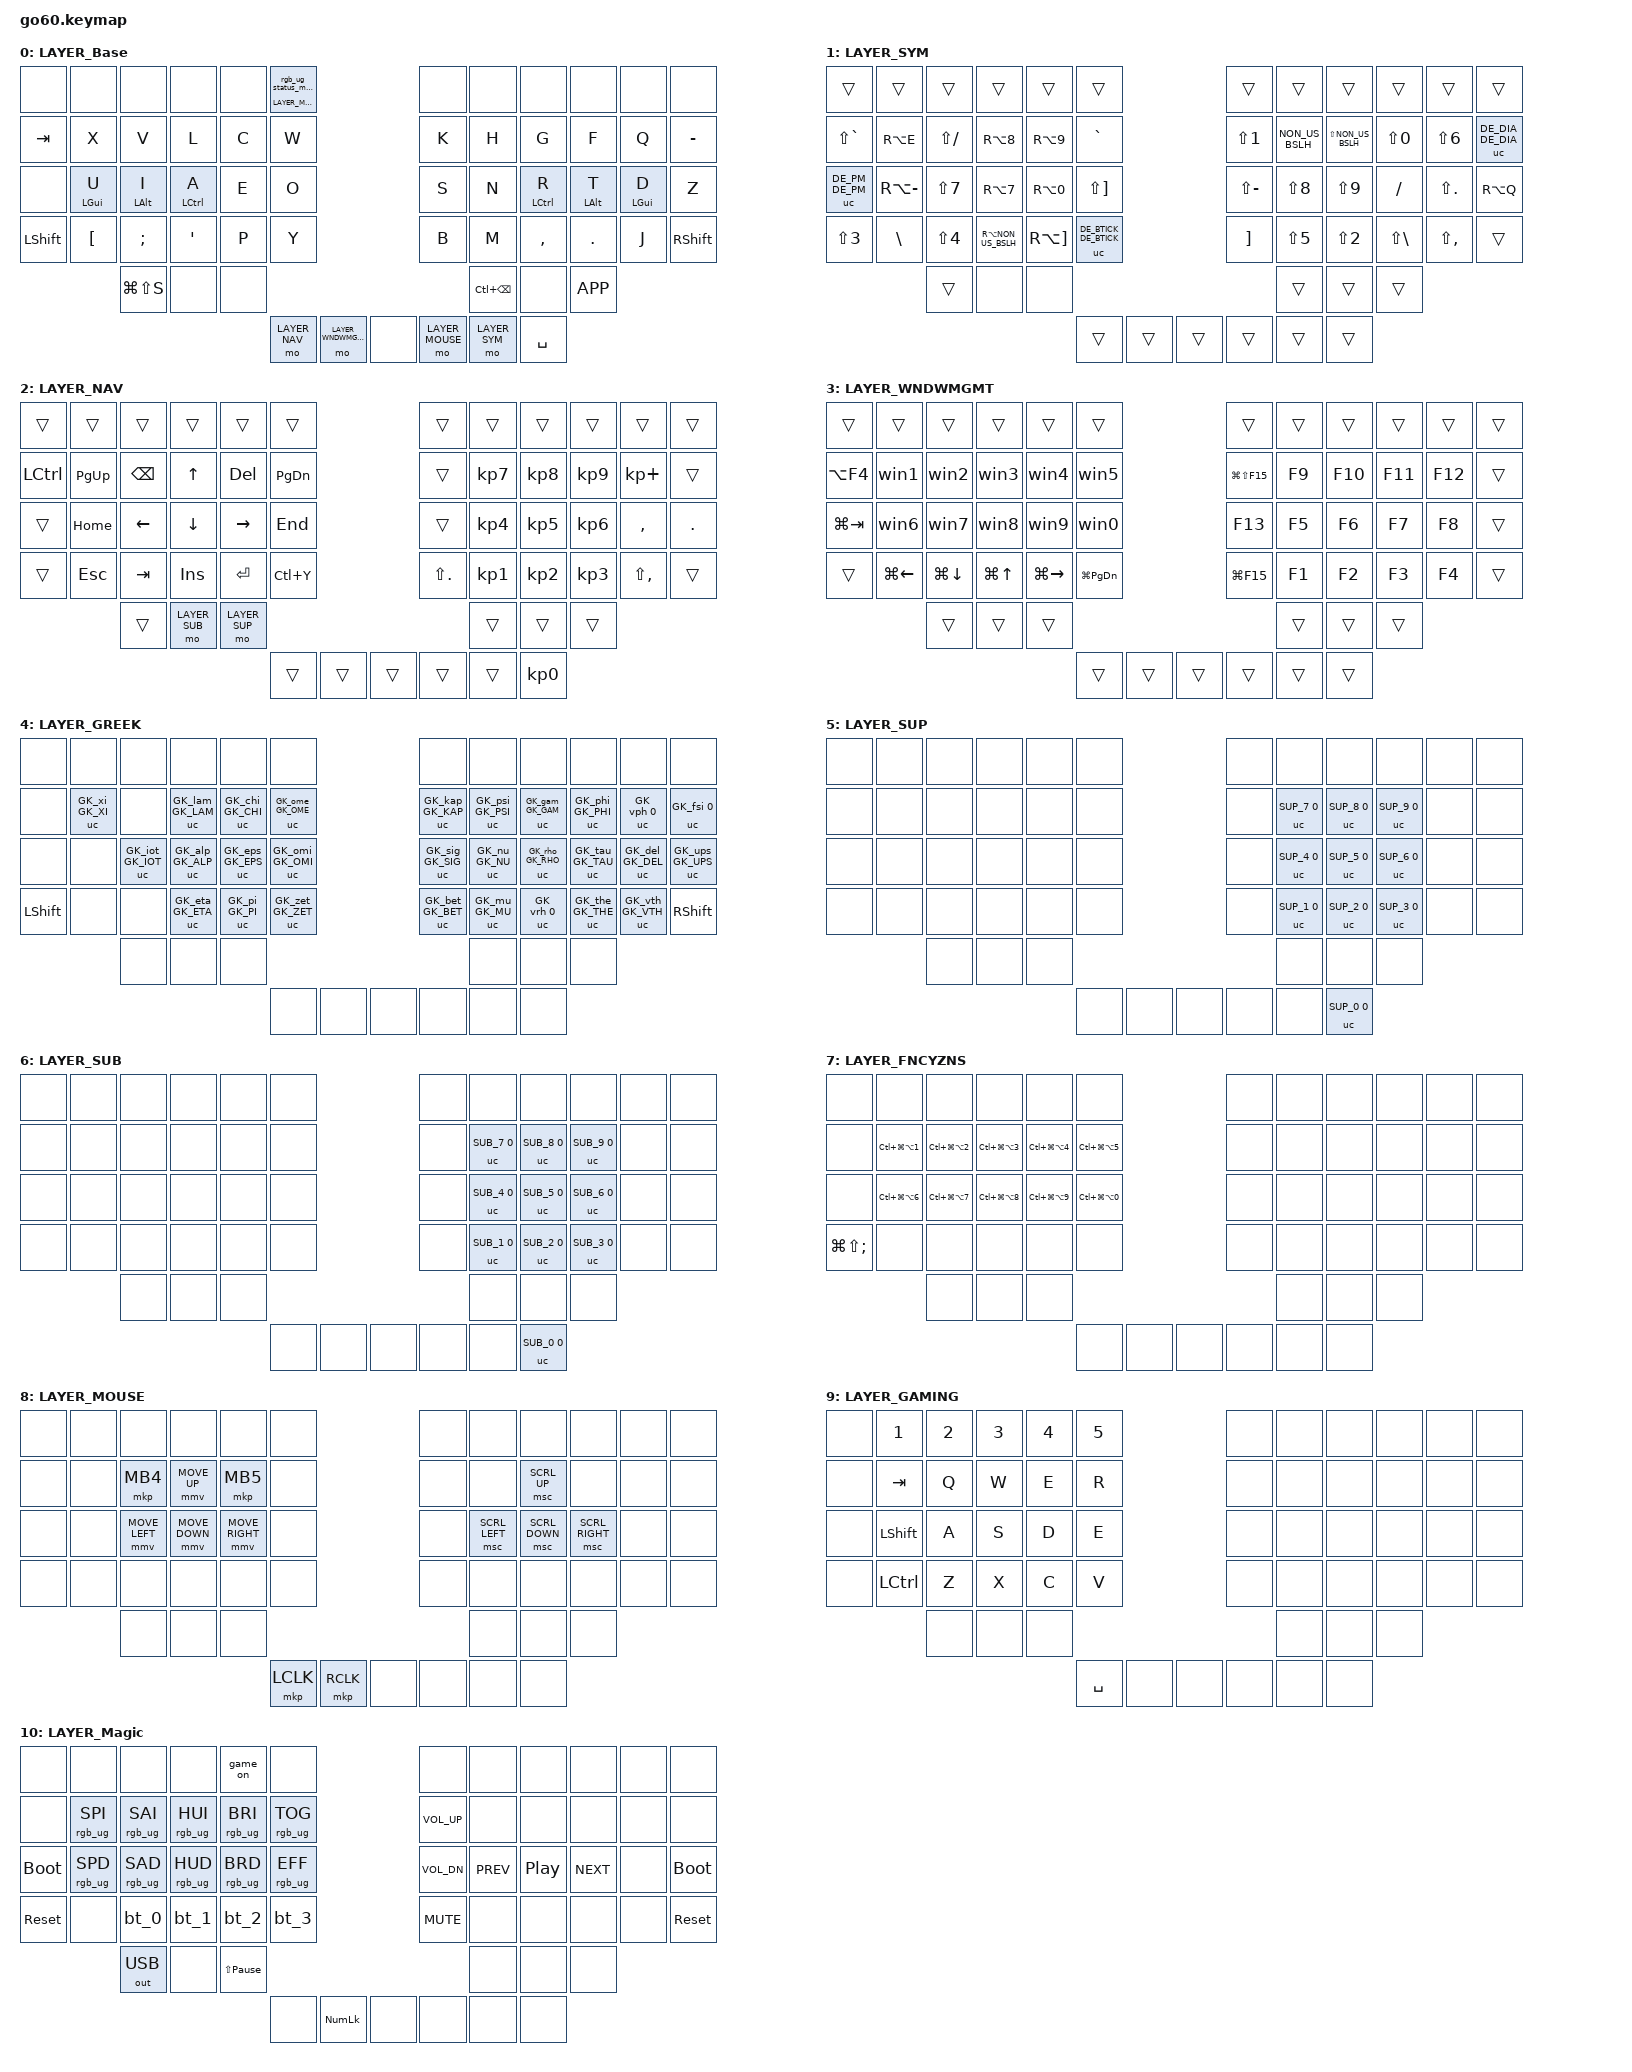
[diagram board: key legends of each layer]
/*
 * Copyright (c) 2020 The ZMK Contributors
 * Copyright (c) 2025 Innaworks Development Limited, trading as MoErgo
 *
 * SPDX-License-Identifier: MIT
 */


/* THIS FILE WAS GENERATED BY GLOVE80 LAYOUT EDITOR
 *
 * This file was generated automatically. You may or may not want to
 * edit it directly.
 */

#include <behaviors.dtsi>
/* Include all behavior includes needed */
#include <dt-bindings/zmk/outputs.h>
#include <dt-bindings/zmk/keys.h>
#include <dt-bindings/zmk/bt.h>
#include <dt-bindings/zmk/rgb.h>
#include <behaviors/unicode.dtsi>
#include <input/processors.dtsi>

/* Mouse emulation */
#define ZMK_POINTING_DEFAULT_MOVE_VAL 1500  // default: 600
#define ZMK_POINTING_DEFAULT_SCRL_VAL 20    // default: 10
#include <dt-bindings/zmk/pointing.h>

/* On demand includes */


/* Helper Macros, based on https://github.com/urob/zmk-helpers/ */

#pragma once

#define ZMK_HELPER_STRINGIFY(x) #x

// Preprocessor mechanism to overload macros, cf. https://stackoverflow.com/a/27051616/6114651
#define VARGS_(_10, _9, _8, _7, _6, _5, _4, _3, _2, _1, N, ...) N
#define VARGS(...) VARGS_(__VA_ARGS__, 10, 9, 8, 7, 6, 5, 4, 3, 2, 1, 0)
#define CONCAT_(a, b) a##b
#define CONCAT(a, b) CONCAT_(a, b)

#define ZMK_BEHAVIOR_CORE_tap_dance  \
    compatible = "zmk,behavior-tap-dance"; \
    #binding-cells = <0>

#define ZMK_BEHAVIOR(name, type, ...) \
    name: name { \
        ZMK_BEHAVIOR_CORE_ ## type; \
        __VA_ARGS__ \
    };

#define ZMK_TAP_DANCE(name, ...) \
    ZMK_BEHAVIOR(name, tap_dance, __VA_ARGS__)

#define ZMK_TD_LAYER(name, layer) \
    ZMK_TAP_DANCE(name, \
        tapping-term-ms = <200>; \
        bindings = <&mo layer>, <&to layer>; \
)

/* Automatically generated layer name #define */
#define LAYER_Base 0
#define LAYER_SYM 1
#define LAYER_NAV 2
#define LAYER_WNDWMGMT 3
#define LAYER_GREEK 4
#define LAYER_SUP 5
#define LAYER_SUB 6
#define LAYER_FNCYZNS 7
#define LAYER_MOUSE 8
#define LAYER_GAMING 9
#define LAYER_Magic 10

/* To deal with the situation where there is no Lower layer, to keep &lower happy */
#ifndef LAYER_Lower
#define LAYER_Lower 0
#endif

/* Custom Device-tree */


/* Input Listeners */


/* System behavior and Macros */
/ {
    behaviors {
        ZMK_TD_LAYER(lower, LAYER_Lower)
    };
};

/ {
    macros {
    rgb_ug_status_macro: rgb_ug_status_macro {
        label = "RGB_UG_STATUS";
        compatible = "zmk,behavior-macro";
        #binding-cells = <0>;
        bindings
            = <&rgb_ug RGB_STATUS>;
    };
    game_on: game_on {
      compatible = "zmk,behavior-macro";
      #binding-cells = <0>;
      wait-ms = <0>; tap-ms = <0>;
      bindings = <&to LAYER_GAMING>, <&rgb_ug RGB_COLOR_HSB(17,73,80)>;   // go red
    };
    game_off: game_off {
      compatible = "zmk,behavior-macro";
      #binding-cells = <0>;
      wait-ms = <0>; tap-ms = <0>;
      bindings = <&to LAYER_Base>, <&rgb_ug RGB_COLOR_HSB(200,41,75)>;   // back to blue
    };
    };
};


/ {
#ifdef BT_DISC_CMD
    behaviors {
        bt_0: bt_0 {
            compatible = "zmk,behavior-tap-dance";
            label = "BT_0";
            #binding-cells = <0>;
            tapping-term-ms = <200>;
            bindings = <&bt_select_0>, <&bt BT_DISC 0>;
        };
        bt_1: bt_1 {
            compatible = "zmk,behavior-tap-dance";
            label = "BT_1";
            #binding-cells = <0>;
            tapping-term-ms = <200>;
            bindings = <&bt_select_1>, <&bt BT_DISC 1>;
        };
        bt_2: bt_2 {
            compatible = "zmk,behavior-tap-dance";
            label = "BT_2";
            #binding-cells = <0>;
            tapping-term-ms = <200>;
            bindings = <&bt_select_2>, <&bt BT_DISC 2>;
        };
        bt_3: bt_3 {
            compatible = "zmk,behavior-tap-dance";
            label = "BT_3";
            #binding-cells = <0>;
            tapping-term-ms = <200>;
            bindings = <&bt_select_3>, <&bt BT_DISC 3>;
        };
    };
    macros {
        bt_select_0: bt_select_0 {
            label = "BT_SELECT_0";
            compatible = "zmk,behavior-macro";
            #binding-cells = <0>;
            bindings
                = <&out OUT_BLE>,
                  <&bt BT_SEL 0>;
        };
        bt_select_1: bt_select_1 {
            label = "BT_SELECT_1";
            compatible = "zmk,behavior-macro";
            #binding-cells = <0>;
            bindings
                = <&out OUT_BLE>,
                  <&bt BT_SEL 1>;
        };
        bt_select_2: bt_select_2 {
            label = "BT_SELECT_2";
            compatible = "zmk,behavior-macro";
            #binding-cells = <0>;
            bindings
                = <&out OUT_BLE>,
                  <&bt BT_SEL 2>;
        };
        bt_select_3: bt_select_3 {
            label = "BT_SELECT_3";
            compatible = "zmk,behavior-macro";
            #binding-cells = <0>;
            bindings
                = <&out OUT_BLE>,
                  <&bt BT_SEL 3>;
        };
    };
#else
    macros {
        bt_0: bt_0 {
            label = "BT_0";
            compatible = "zmk,behavior-macro";
            #binding-cells = <0>;
            bindings
                = <&out OUT_BLE>,
                  <&bt BT_SEL 0>;
        };
        bt_1: bt_1 {
            label = "BT_1";
            compatible = "zmk,behavior-macro";
            #binding-cells = <0>;
            bindings
                = <&out OUT_BLE>,
                  <&bt BT_SEL 1>;
        };
        bt_2: bt_2 {
            label = "BT_2";
            compatible = "zmk,behavior-macro";
            #binding-cells = <0>;
            bindings
                = <&out OUT_BLE>,
                  <&bt BT_SEL 2>;
        };
        bt_3: bt_3 {
            label = "BT_3";
            compatible = "zmk,behavior-macro";
            #binding-cells = <0>;
            bindings
                = <&out OUT_BLE>,
                  <&bt BT_SEL 3>;
        };
    };
#endif
};

/ {
    behaviors {
        magic: magic {
            compatible = "zmk,behavior-hold-tap";
            label = "MAGIC_HOLD_TAP";
            #binding-cells = <2>;
            flavor = "tap-preferred";
            tapping-term-ms = <200>;
            bindings = <&mo>, <&rgb_ug_status_macro>;
        };
        win1: window_1 {
            compatible = "zmk,behavior-tri-state";
            label = "WINDOW1_SWAPPER";
            #binding-cells = <0>;
            bindings = <&kt LGUI>, <&kp N1>, <&kt LGUI>;
            ignored-key-positions = <1>;
        };
        
        win2: window_2 {
            compatible = "zmk,behavior-tri-state";
            label = "WINDOW2_SWAPPER";
            #binding-cells = <0>;
            bindings = <&kt LGUI>, <&kp N2>, <&kt LGUI>;
            ignored-key-positions = <1>;
        };
        
        win3: window_3 {
            compatible = "zmk,behavior-tri-state";
            label = "WINDOW3_SWAPPER";
            #binding-cells = <0>;
            bindings = <&kt LGUI>, <&kp N3>, <&kt LGUI>;
            ignored-key-positions = <1>;
        };
        
        win4: window_4 {
            compatible = "zmk,behavior-tri-state";
            label = "WINDOW4_SWAPPER";
            #binding-cells = <0>;
            bindings = <&kt LGUI>, <&kp N4>, <&kt LGUI>;
            ignored-key-positions = <1>;
        };
        
        win5: window_5 {
            compatible = "zmk,behavior-tri-state";
            label = "WINDOW5_SWAPPER";
            #binding-cells = <0>;
            bindings = <&kt LGUI>, <&kp N5>, <&kt LGUI>;
            ignored-key-positions = <1>;
        };
        
        win6: window_6 {
            compatible = "zmk,behavior-tri-state";
            label = "WINDOW6_SWAPPER";
            #binding-cells = <0>;
            bindings = <&kt LGUI>, <&kp N6>, <&kt LGUI>;
            ignored-key-positions = <1>;
        };
        
        win7: window_7 {
            compatible = "zmk,behavior-tri-state";
            label = "WINDOW7_SWAPPER";
            #binding-cells = <0>;
            bindings = <&kt LGUI>, <&kp N7>, <&kt LGUI>;
            ignored-key-positions = <1>;
        };
        
        win8: window_8 {
            compatible = "zmk,behavior-tri-state";
            label = "WINDOW8_SWAPPER";
            #binding-cells = <0>;
            bindings = <&kt LGUI>, <&kp N8>, <&kt LGUI>;
            ignored-key-positions = <1>;
        };
        
        win9: window_9 {
            compatible = "zmk,behavior-tri-state";
            label = "WINDOW9_SWAPPER";
            #binding-cells = <0>;
            bindings = <&kt LGUI>, <&kp N9>, <&kt LGUI>;
            ignored-key-positions = <1>;
        };
        
        win0: window_0 {
            compatible = "zmk,behavior-tri-state";
            label = "WINDOW0_SWAPPER";
            #binding-cells = <0>;
            bindings = <&kt LGUI>, <&kp N0>, <&kt LGUI>;
            ignored-key-positions = <1>;
        };

        hml: home_row_mod_left {
            compatible = "zmk,behavior-hold-tap";
            #binding-cells = <2>;
            flavor = "balanced";
            require-prior-idle-ms = <150>;
            tapping-term-ms = <280>;
            quick-tap-ms = <175>;
            bindings = <&kp>, <&kp>;
            hold-trigger-key-positions = 
                <6 7 8 9 10 11
                 18 19 20 21 22 23
                 30 31 32 33 34 35
                 42 43 44 45 46 47
                 56 57 58 59 60>;
            hold-trigger-on-release;
        };
        hmr: home_row_mod_right {
            compatible = "zmk,behavior-hold-tap";
            #binding-cells = <2>;
            flavor = "balanced";
            require-prior-idle-ms = <150>;
            tapping-term-ms = <280>;
            quick-tap-ms = <175>;
            bindings = <&kp>, <&kp>;
            hold-trigger-key-positions =
                <0 1 2 3 4 5
                 12 13 14 15 16 17
                 24 25 26 27 28 29
                 36 37 38 39 40 41
                 48 49 50 51 52 53 54 55>;
            hold-trigger-on-release;
        };
    };
};  

/* greek letters */ 
#define GK_alp	 0x3B1  // alpha 		(╬▒)
#define GK_ALP 	 0x391  // Alpha 		(╬æ)
#define GK_bet   0x3B2 	// beta 		(╬▓)
#define GK_BET   0x392 	// Beta 		(╬Æ)
#define GK_gam	 0x3B3  // gamma 		(╬│)
#define GK_GAM 	 0x393  // Gamma 		(╬ô)
#define GK_del   0x3B4 	// delta 		(╬┤)
#define GK_DEL   0x394 	// Delta 		(╬ö)
#define GK_eps	 0x3B5  // epsilon 		(╬Á)
#define GK_EPS 	 0x395  // Epsilon 		(╬ò)
#define GK_zet   0x3B6 	// zeta 		(╬Â)
#define GK_ZET   0x396 	// Zeta 		(╬û)
#define GK_eta	 0x3B7  // eta 			(╬À)
#define GK_ETA	 0x397  // Eta 			(╬ù)
#define GK_vth 	 0x3D1 	// vartheta		(¤æ)
#define GK_VTH 	 0x3F4 	// VarTheta		(¤┤)
#define GK_the   0x3B8 	// theta 		(╬©)
#define GK_THE   0x398 	// Theta 		(╬ÿ)
#define GK_iot	 0x3B9  // iota 		(╬╣)
#define GK_IOT 	 0x399  // Iota 		(╬Ö)
#define GK_kap   0x3BA 	// kappa 		(╬║)
#define GK_KAP   0x39A 	// Kappa 		(╬Ü)
#define GK_lam	 0x3BB  // lambda 		(╬╗)
#define GK_LAM 	 0x39B  // Lambda 		(╬ø)
#define GK_mu	 0x3BC 	// mu 			(╬╝)
#define GK_MU  	 0x39C 	// Mu 			(╬£)
#define GK_nu	 0x3BD 	// nu 			(╬¢)
#define GK_NU  	 0x39D 	// Nu 			(╬Ø)
#define GK_xi	 0x3BE 	// xi 			(╬¥)
#define GK_XI  	 0x39E 	// Xi 			(╬×)
#define GK_omi   0x3BF 	// omicron 		(╬┐)
#define GK_OMI	 0x39F 	// Omicron 		(╬ƒ)

#define GK_pi	 0x3C0 	// pi 			(¤Ç)
#define GK_PI  	 0x3A0 	// Pi 			(╬á)
#define GK_vrh   0x3F1 	// varrho 		(¤▒) no capital version
#define GK_rho	 0x3C1 	// rho 			(¤ü)
#define GK_RHO   0x3A1 	// Rho 			(╬í)
#define GK_fsi 	 0x3C2 	// final sigma 	(¤é) no capital version
#define GK_sig	 0x3C3 	// sigma 		(¤â)
#define GK_SIG	 0x3A3 	// Sigma 		(╬ú)
#define GK_tau	 0x3C4 	// tau 			(¤ä)
#define GK_TAU   0x3A4 	// Tau 			(╬ñ)
#define GK_ups   0x3C5 	// upsilon 		(¤à)
#define GK_UPS	 0x3A5 	// Upsilon 		(╬Ñ)
#define GK_vph	 0x3D5 	// varphi 		(¤ò) no capital version
#define GK_phi	 0x3C6 	// phi 			(¤å)
#define GK_PHI   0x3A6 	// Phi 			(╬ª)
#define GK_chi	 0x3C7 	// chi 			(¤ç)
#define GK_CHI   0x3A7 	// Chi 			(╬º)
#define GK_psi	 0x3C8 	// psi 			(¤ê)
#define GK_PSI   0x3A8 	// Psi 			(╬¿)
#define GK_ome	 0x3C9 	// omega 		(¤ë)
#define GK_OME	 0x3A9 	// Omega 		(╬®)

/* subscript */
#define SUB_0   0x2080 	  // subscript 0
#define SUB_1   0x2081 	  // subscript 1
#define SUB_2   0x2082 	  // subscript 2
#define SUB_3   0x2083 	  // subscript 3
#define SUB_4   0x2084 	  // subscript 4
#define SUB_5   0x2085 	  // subscript 5
#define SUB_6   0x2086 	  // subscript 6
#define SUB_7   0x2087 	  // subscript 7
#define SUB_8   0x2088 	  // subscript 8
#define SUB_9   0x2089 	  // subscript 9

/* superscript */
#define SUP_0   0x2070 	  // superscript 0
#define SUP_1   0x00B9 	  // superscript 1
#define SUP_2   0x00B2 	  // superscript 2
#define SUP_3   0x00B3 	  // superscript 3
#define SUP_4   0x2074 	  // superscript 4
#define SUP_5   0x2075 	  // superscript 5
#define SUP_6   0x2076 	  // superscript 6
#define SUP_7   0x2077 	  // superscript 7
#define SUP_8   0x2078 	  // superscript 8
#define SUP_9   0x2079 	  // superscript 9

/* define german special characters */
#define DE_EURO  RA(E)           // Ôé¼      
#define DE_UNDER LS(FSLH)        // _      
#define DE_LBKT  RA(N8)          // [     
#define DE_RBKT  RA(N9)          // ]        
#define DE_CARET GRAVE           // ^       
#define DE_BSLH  RA(MINUS)       // \     
#define DE_FSLH  LS(N7)          // /      
#define DE_LBRC  RA(N7)          // {     
#define DE_RBRC  RA(N0)          // }        
#define DE_STAR  LS(RBKT)        // *        
#define DE_PARA  LS(N3)          // ┬º      
#define DE_HASH  BSLH            // #      
#define DE_DLLR  LS(N4)          // $     
#define DE_PIPE  RA(NON_US_BSLH) // |       
#define DE_TILDE RA(RBKT)        // ~        
#define DE_EXLC  LS(N1)          // !     
#define DE_LT    NON_US_BSLH     // <       
#define DE_GT    LS(NON_US_BSLH) // >       
#define DE_EQUAL LS(N0)          // =      
#define DE_AMPS  LS(N6)          // &      
#define DE_QMARK LS(MINUS)       // ?     
#define DE_LPAR  LS(N8)          // (       
#define DE_RPAR  LS(N9)          // )       
#define DE_MINUS FSLH            // -      
#define DE_COLON LS(DOT)         // :     
#define DE_AT    RA(Q)           // @       
#define DE_PLUS  RBKT            // +     
#define DE_PRCNT LS(N5)          // %       
#define DE_DQT   LS(N2)          // "       
#define DE_SQT   LS(BSLH)        // '      
#define DE_SEMI  LS(COMMA)       // ;    
#define DE_ADIA  SQT             // ├ñ
#define DE_ODIA  SEMI            // ├Â
#define DE_UDIA  LBKT            // ├╝
#define DE_SS    MINUS           // ├ƒ
#define DE_DEG   LS(GRAVE)       // ┬░
#define DE_Y     Z               // Y
#define DE_Z     Y               // Z
#define DE_BTICK 0x0060          // ` (must be used with wincompose)
#define DE_DIA   0x2300          // ÔîÇ
#define DE_PM    0x00B1          // ┬▒

/* #define for key positions */
#define POS_LH_T1 52
#define POS_LH_T2 53
#define POS_LH_T3 54
#define POS_LH_T4 69
#define POS_LH_T5 70
#define POS_LH_T6 71
#define POS_LH_C1R2 15
#define POS_LH_C1R3 27
#define POS_LH_C1R4 39
#define POS_LH_C1R5 51
#define POS_LH_C2R1 4
#define POS_LH_C2R2 14
#define POS_LH_C2R3 26
#define POS_LH_C2R4 38
#define POS_LH_C2R5 50
#define POS_LH_C2R6 68
#define POS_LH_C3R1 3
#define POS_LH_C3R2 13
#define POS_LH_C3R3 25
#define POS_LH_C3R4 37
#define POS_LH_C3R5 49
#define POS_LH_C3R6 67
#define POS_LH_C4R1 2
#define POS_LH_C4R2 12
#define POS_LH_C4R3 24
#define POS_LH_C4R4 36
#define POS_LH_C4R5 48
#define POS_LH_C4R6 66
#define POS_LH_C5R1 1
#define POS_LH_C5R2 11
#define POS_LH_C5R3 23
#define POS_LH_C5R4 35
#define POS_LH_C5R5 47
#define POS_LH_C5R6 65
#define POS_LH_C6R1 0
#define POS_LH_C6R2 10
#define POS_LH_C6R3 22
#define POS_LH_C6R4 34
#define POS_LH_C6R5 46
#define POS_LH_C6R6 64
#define POS_RH_T1 57
#define POS_RH_T2 56
#define POS_RH_T3 55
#define POS_RH_T4 74
#define POS_RH_T5 73
#define POS_RH_T6 72
#define POS_RH_C1R2 16
#define POS_RH_C1R3 28
#define POS_RH_C1R4 40
#define POS_RH_C1R5 58
#define POS_RH_C2R1 5
#define POS_RH_C2R2 17
#define POS_RH_C2R3 29
#define POS_RH_C2R4 41
#define POS_RH_C2R5 59
#define POS_RH_C2R6 75
#define POS_RH_C3R1 6
#define POS_RH_C3R2 18
#define POS_RH_C3R3 30
#define POS_RH_C3R4 42
#define POS_RH_C3R5 60
#define POS_RH_C3R6 76
#define POS_RH_C4R1 7
#define POS_RH_C4R2 19
#define POS_RH_C4R3 31
#define POS_RH_C4R4 43
#define POS_RH_C4R5 61
#define POS_RH_C4R6 77
#define POS_RH_C5R1 8
#define POS_RH_C5R2 20
#define POS_RH_C5R3 32
#define POS_RH_C5R4 44
#define POS_RH_C5R5 62
#define POS_RH_C5R6 78
#define POS_RH_C6R1 9
#define POS_RH_C6R2 21
#define POS_RH_C6R3 33
#define POS_RH_C6R4 45
#define POS_RH_C6R5 63
#define POS_RH_C6R6 79

/* Custom Defined Behaviors */
/ {

};


/* SYM and NAV layer goes to GREEK */
/ {
    conditional_layers {
        compatible = "zmk,conditional-layers";
        condition_greeks {
            if-layers = <LAYER_SYM LAYER_NAV>;
            then-layer = <LAYER_GREEK>;
        };
        condition_fncyzns {
            if-layers = <LAYER_SYM LAYER_WNDWMGMT>;
            then-layer = <LAYER_FNCYZNS>;
        };
    };
};

/* Automatically generated macro definitions */
/ {
    macros {
    };
};

/* Automatically generated behavior definitions */
/ {
    behaviors {


    };
};

/* Automatically generated combos definitions */


&uc {
  default-mode = <UC_MODE_WIN_COMPOSE>;  // Default to WinCompose input system
  win-compose-key = <F14>;        // Overwrite WinCompose compose key
};

/* Automatically generated keymap */
/ {
    keymap {
        compatible = "zmk,keymap";

        LAYER_Base {
            bindings = <
            &none           &none           &none           &none        &none           &magic LAYER_Magic 0                                                             &none       &none           &none        &none       &none       &none
            &kp TAB         &kp X           &kp V           &kp L        &kp C           &kp W                                                                            &kp K       &kp H           &kp G        &kp F       &kp Q       &kp DE_SS
            &none           &hml LGUI U     &hml LALT I     &hml LCTRL A &kp E           &kp O                                                                            &kp S       &kp N           &hmr LCTRL R &hmr LALT T &hmr LGUI D &kp DE_Y
            &kp LSHFT       &kp DE_UDIA     &kp DE_ODIA     &kp DE_ADIA  &kp P           &kp DE_Z                                                                         &kp B       &kp M           &kp COMMA    &kp DOT     &kp J       &kp RSHFT
                                            &kp LG(LS(S))   &none        &none                                                                                                        &kp LC(BSPC)    &none        &kp K_APP
                                                                                         &mo LAYER_NAV  &mo LAYER_WNDWMGMT  &none /*|*/  &mo LAYER_MOUSE  &mo LAYER_SYM   &kp SPACE
            >;
        };

        LAYER_SYM {
            bindings = <
            &trans              &trans          &trans          &trans              &trans          &trans                                                          &trans          &trans          &trans              &trans          &trans          &trans
            &kp DE_DEG          &kp RA(E)       &kp LS(FSLH)    &kp RA(N8)          &kp RA(N9)      &kp GRAVE                                                       &kp LS(N1)      &kp NON_US_BSLH &kp LS(NON_US_BSLH) &kp LS(N0)      &kp LS(N6)      &uc DE_DIA DE_DIA
            &uc DE_PM DE_PM     &kp RA(MINUS)   &kp LS(N7)      &kp RA(N7)          &kp RA(N0)      &kp LS(RBKT)                                                    &kp LS(MINUS)   &kp LS(N8)      &kp LS(N9)          &kp FSLH        &kp LS(DOT)     &kp DE_AT
            &kp LS(N3)          &kp BSLH        &kp LS(N4)      &kp RA(NON_US_BSLH) &kp RA(RBKT)    &uc DE_BTICK DE_BTICK                                           &kp RBKT        &kp LS(N5)      &kp LS(N2)          &kp LS(BSLH)    &kp LS(COMMA)   &trans
                                                &trans          &none               &none                                                                                           &trans          &trans              &trans
                                                                                                    &trans                  &trans  &trans /*|*/ &trans  &trans     &trans
            >;
        };

        LAYER_NAV {
            bindings = <
            &trans      &trans      &trans      &trans          &trans          &trans                                              &trans      &trans      &trans      &trans      &trans          &trans
            &kp LCTL    &kp PG_UP   &kp BSPC    &kp UP          &kp DEL         &kp PG_DN                                           &trans      &kp KP_N7   &kp KP_N8   &kp KP_N9   &kp KP_PLUS     &trans
            &trans      &kp HOME    &kp LEFT    &kp DOWN        &kp RIGHT       &kp END                                             &trans      &kp KP_N4   &kp KP_N5   &kp KP_N6   &kp COMMA       &kp DOT
            &trans      &kp ESC     &kp TAB     &kp INS         &kp RET         &kp LC(Y)                                           &kp LS(DOT) &kp KP_N1   &kp KP_N2   &kp KP_N3   &kp LS(COMMA)   &trans
                                    &trans      &mo LAYER_SUB   &mo LAYER_SUP                                                                   &trans      &trans      &trans
                                                                            &trans      &trans  &trans /*|*/  &trans  &trans    &kp KP_N0
            >;
        };

        LAYER_WNDWMGMT {
            bindings = <
            &trans      &trans              &trans              &trans              &trans              &trans                                              &trans          &trans  &trans  &trans  &trans  &trans
            &kp LA(F4)  &win1               &win2               &win3               &win4               &win5                                               &kp LG(LS(F15)) &kp F9  &kp F10 &kp F11 &kp F12 &trans
            &kp LG(TAB) &win6               &win7               &win8               &win9               &win0                                               &kp F13         &kp F5  &kp F6  &kp F7  &kp F8  &trans
            &trans      &kp LG(LEFT_ARROW)  &kp LG(DOWN_ARROW)  &kp LG(UP_ARROW)    &kp LG(RIGHT_ARROW) &kp LG(PG_DN)                                       &kp LG(F15)     &kp F1  &kp F2  &kp F3  &kp F4  &trans
                                            &trans              &trans              &trans                                                                                  &trans  &trans  &trans
                                                                                                        &trans          &trans  &trans /*|*/ &trans  &trans &trans
            >;
        };

        LAYER_GREEK {
            bindings = <
            &none       &none           &none               &none               &none               &none                                                   &none               &none               &none               &none               &none               &none
            &none       &uc GK_xi GK_XI &none               &uc GK_lam GK_LAM   &uc GK_chi GK_CHI   &uc GK_ome GK_OME                                       &uc GK_kap GK_KAP   &uc GK_psi GK_PSI   &uc GK_gam GK_GAM   &uc GK_phi GK_PHI   &uc GK_vph 0        &uc GK_fsi 0
            &none       &none           &uc GK_iot GK_IOT   &uc GK_alp GK_ALP   &uc GK_eps GK_EPS   &uc GK_omi GK_OMI                                       &uc GK_sig GK_SIG   &uc GK_nu GK_NU     &uc GK_rho GK_RHO   &uc GK_tau GK_TAU   &uc GK_del GK_DEL   &uc GK_ups GK_UPS
            &kp LSHFT   &none           &none               &uc GK_eta GK_ETA   &uc GK_pi GK_PI     &uc GK_zet GK_ZET                                       &uc GK_bet GK_BET   &uc GK_mu GK_MU     &uc GK_vrh 0        &uc GK_the GK_THE   &uc GK_vth GK_VTH   &kp RSHFT
                                        &none               &none               &none                                                                                           &none               &none               &none
                                                                                                    &none               &none   &none /*|*/ &none  &none    &none
            >;
        };

        LAYER_SUP {
            bindings = <
            &none   &none   &none  &none  &none  &none                                  &none       &none           &none           &none           &none  &none
            &none   &none   &none  &none  &none  &none                                  &none       &uc SUP_7 0     &uc SUP_8 0     &uc SUP_9 0     &none  &none
            &none   &none   &none  &none  &none  &none                                  &none       &uc SUP_4 0     &uc SUP_5 0     &uc SUP_6 0     &none  &none
            &none   &none   &none  &none  &none  &none                                  &none       &uc SUP_1 0     &uc SUP_2 0     &uc SUP_3 0     &none  &none
                            &none  &none  &none                                                     &none           &none           &none
                                                &none  &none  &none /*|*/ &none  &none &uc SUP_0 0
            >;
        };

        LAYER_SUB {
            bindings = <
            &none  &none    &none  &none  &none  &none                                      &none       &none       &none       &none       &none  &none
            &none  &none    &none  &none  &none  &none                                      &none       &uc SUB_7 0 &uc SUB_8 0 &uc SUB_9 0 &none  &none
            &none  &none    &none  &none  &none  &none                                      &none       &uc SUB_4 0 &uc SUB_5 0 &uc SUB_6 0 &none  &none
            &none  &none    &none  &none  &none  &none                                      &none       &uc SUB_1 0 &uc SUB_2 0 &uc SUB_3 0 &none  &none
                            &none  &none  &none                                                         &none       &none       &none
                                                &none  &none  &none /*|*/ &none  &none     &uc SUB_0 0
            >;
        };

        LAYER_FNCYZNS {
            bindings = <
            &none               &none               &none               &none               &none               &none                                                   &none  &none  &none  &none  &none  &none
            &none               &kp LC(LG(LA(N1)))  &kp LC(LG(LA(N2)))  &kp LC(LG(LA(N3)))  &kp LC(LG(LA(N4)))  &kp LC(LG(LA(N5)))                                      &none  &none  &none  &none  &none  &none
            &none               &kp LC(LG(LA(N6)))  &kp LC(LG(LA(N7)))  &kp LC(LG(LA(N8)))  &kp LC(LG(LA(N9)))  &kp LC(LG(LA(N0)))                                      &none  &none  &none  &none  &none  &none
            &kp LG(LS(SEMI))    &none               &none               &none               &none               &none                                                   &none  &none  &none  &none  &none  &none
                                                    &none               &none               &none                                                                              &none  &none  &none
                                                                                                                &none               &none  &none /*|*/ &none  &none     &none
            >;
        };

        LAYER_MOUSE {
            bindings = <
            &none  &none    &none           &none           &none           &none                                               &none   &none           &none           &none           &none  &none
            &none  &none    &mkp MB4        &mmv MOVE_UP    &mkp MB5        &none                                               &none   &none           &msc SCRL_UP    &none           &none  &none
            &none  &none    &mmv MOVE_LEFT  &mmv MOVE_DOWN  &mmv MOVE_RIGHT &none                                               &none   &msc SCRL_LEFT  &msc SCRL_DOWN  &msc SCRL_RIGHT &none  &none
            &none  &none    &none           &none           &none           &none                                               &none   &none           &none           &none           &none  &none
                            &none           &none           &none                                                                       &none           &none           &none
                                                                            &mkp LCLK   &mkp RCLK   &none /*|*/ &none  &none    &none
            >;
        };

        LAYER_GAMING {
            bindings = <
            &none  &kp N1       &kp N2  &kp N3  &kp N4  &kp N5                                      &none  &none  &none  &none  &none  &none
            &none  &kp TAB      &kp Q   &kp W   &kp E   &kp R                                       &none  &none  &none  &none  &none  &none
            &none  &kp LSHIFT   &kp A   &kp S   &kp D   &kp E                                       &none  &none  &none  &none  &none  &none
            &none  &kp LCTL     &kp Z   &kp X   &kp C   &kp V                                       &none  &none  &none  &none  &none  &none
                                &none   &none   &none                                                      &none  &none  &none
                                                        &kp SPACE  &none  &none /*|*/ &none  &none  &none
            >;
        };

        LAYER_Magic {
            bindings = <
            &none       &none           &none           &none           &game_on            &none                                                       &none           &none       &none               &none       &none  &none
            &none       &rgb_ug RGB_SPI &rgb_ug RGB_SAI &rgb_ug RGB_HUI &rgb_ug RGB_BRI     &rgb_ug RGB_TOG                                             &kp C_VOL_UP    &none       &none               &none       &none  &none
            &bootloader &rgb_ug RGB_SPD &rgb_ug RGB_SAD &rgb_ug RGB_HUD &rgb_ug RGB_BRD     &rgb_ug RGB_EFF                                             &kp C_VOL_DN    &kp C_PREV  &kp C_PLAY_PAUSE    &kp C_NEXT  &none  &bootloader
            &sys_reset  &none           &bt_0           &bt_1           &bt_2               &bt_3                                                       &kp C_MUTE      &none       &none               &none       &none  &sys_reset
                                        &out OUT_USB    &none           &kp LS(PAUSE_BREAK)                                                                             &none       &none               &none
                                                                                            &none            &kp KP_NUMLOCK  &none    /*|*/ &none  &none   &none
            >;
        };

    };
};

&cirque_rh_listener {
    input-processors = <&zip_xy_scaler 3 1>;
    layer_2 {
        layers = <2>;
        input-processors = <&zip_xy_scaler 9 1>;
    };
};

&cirque_lh_listener {
    input-processors = <&zip_xy_to_scroll_mapper>,
                       <&zip_xy_scaler 1 8>;
    layer_4 {
        layers = <4>;
        input-processors = <&zip_xy_scaler 3 1>;
    };
};
